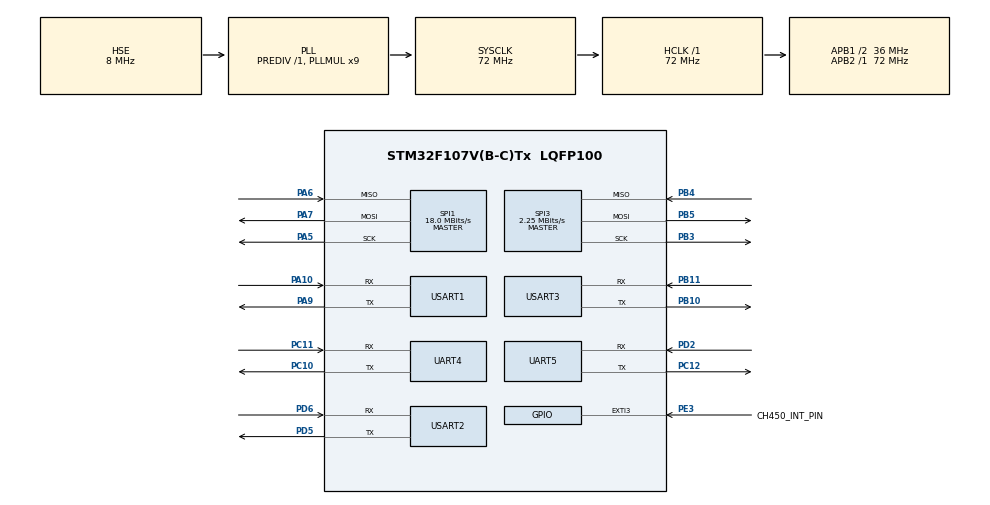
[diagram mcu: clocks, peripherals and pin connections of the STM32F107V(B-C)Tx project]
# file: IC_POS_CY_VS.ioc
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Dma.Request0=UART4_RX
Dma.Request1=USART1_RX
Dma.Request2=USART2_RX
Dma.Request3=USART3_RX
Dma.UART4_RX.0.Direction=DMA_PERIPH_TO_MEMORY
Dma.UART4_RX.0.Instance=DMA2_Channel3
Dma.UART4_RX.0.MemDataAlignment=DMA_MDATAALIGN_BYTE
Dma.UART4_RX.0.MemInc=DMA_MINC_ENABLE
Dma.UART4_RX.0.Mode=DMA_NORMAL
Dma.UART4_RX.0.PeriphDataAlignment=DMA_PDATAALIGN_BYTE
Dma.UART4_RX.0.PeriphInc=DMA_PINC_DISABLE
Dma.UART4_RX.0.Priority=DMA_PRIORITY_LOW
Dma.USART1_RX.1.Direction=DMA_PERIPH_TO_MEMORY
Dma.USART1_RX.1.Instance=DMA1_Channel5
Dma.USART1_RX.1.MemDataAlignment=DMA_MDATAALIGN_BYTE
Dma.USART1_RX.1.MemInc=DMA_MINC_ENABLE
Dma.USART1_RX.1.Mode=DMA_NORMAL
Dma.USART1_RX.1.PeriphDataAlignment=DMA_PDATAALIGN_BYTE
Dma.USART1_RX.1.PeriphInc=DMA_PINC_DISABLE
Dma.USART1_RX.1.Priority=DMA_PRIORITY_MEDIUM
Dma.USART2_RX.2.Direction=DMA_PERIPH_TO_MEMORY
Dma.USART2_RX.2.Instance=DMA1_Channel6
Dma.USART2_RX.2.MemDataAlignment=DMA_MDATAALIGN_BYTE
Dma.USART2_RX.2.MemInc=DMA_MINC_ENABLE
Dma.USART2_RX.2.Mode=DMA_NORMAL
Dma.USART2_RX.2.PeriphDataAlignment=DMA_PDATAALIGN_BYTE
Dma.USART2_RX.2.PeriphInc=DMA_PINC_DISABLE
Dma.USART2_RX.2.Priority=DMA_PRIORITY_MEDIUM
Dma.USART3_RX.3.Direction=DMA_PERIPH_TO_MEMORY
Dma.USART3_RX.3.Instance=DMA1_Channel3
Dma.USART3_RX.3.MemDataAlignment=DMA_MDATAALIGN_BYTE
Dma.USART3_RX.3.MemInc=DMA_MINC_ENABLE
Dma.USART3_RX.3.Mode=DMA_NORMAL
Dma.USART3_RX.3.PeriphDataAlignment=DMA_PDATAALIGN_BYTE
Dma.USART3_RX.3.PeriphInc=DMA_PINC_DISABLE
Dma.USART3_RX.3.Priority=DMA_PRIORITY_MEDIUM
Mcu.Family=STM32F1
Mcu.Name=STM32F107V(B-C)Tx
Mcu.Package=LQFP100
NVIC.DMA1_Channel3_IRQn=true\:0\:0\:false\:false\:true\:false
NVIC.DMA1_Channel5_IRQn=true\:0\:0\:false\:false\:true\:false
NVIC.DMA1_Channel6_IRQn=true\:0\:0\:false\:false\:true\:false
NVIC.DMA2_Channel3_IRQn=true\:0\:0\:false\:false\:true\:false
NVIC.PriorityGroup=NVIC_PRIORITYGROUP_4
NVIC.UART4_IRQn=true\:0\:0\:false\:false\:true\:true
NVIC.UART5_IRQn=true\:0\:0\:false\:false\:true\:true
NVIC.USART1_IRQn=true\:0\:0\:false\:false\:true\:true
NVIC.USART2_IRQn=true\:0\:0\:false\:false\:true\:true
NVIC.USART3_IRQn=true\:0\:0\:false\:false\:true\:true
OSC_IN.Mode=HSE-External-Oscillator
OSC_IN.Signal=RCC_OSC_IN
OSC_OUT.Mode=HSE-External-Oscillator
OSC_OUT.Signal=RCC_OSC_OUT
PA10.Mode=Asynchronous
PA10.Signal=USART1_RX
PA13.Mode=Serial_Wire
PA13.Signal=SYS_JTMS-SWDIO
PA14.Mode=Serial_Wire
PA14.Signal=SYS_JTCK-SWCLK
PA5.Mode=Full_Duplex_Master
PA5.Signal=SPI1_SCK
PA6.Mode=Full_Duplex_Master
PA6.Signal=SPI1_MISO
PA7.Mode=Full_Duplex_Master
PA7.Signal=SPI1_MOSI
PA9.Mode=Asynchronous
PA9.Signal=USART1_TX
PB10.Mode=Asynchronous
PB10.Signal=USART3_TX
PB11.Mode=Asynchronous
PB11.Signal=USART3_RX
PB3.Mode=Full_Duplex_Master
PB3.Signal=SPI3_SCK
PB4.Mode=Full_Duplex_Master
PB4.Signal=SPI3_MISO
PB5.Mode=Full_Duplex_Master
PB5.Signal=SPI3_MOSI
PC10.Mode=Asynchronous
PC10.Signal=UART4_TX
PC11.Mode=Asynchronous
PC11.Signal=UART4_RX
PC12.Mode=Asynchronous
PC12.Signal=UART5_TX
PD2.Mode=Asynchronous
PD2.Signal=UART5_RX
PD5.Mode=Asynchronous
PD5.Signal=USART2_TX
PD6.Mode=Asynchronous
PD6.Signal=USART2_RX
PE3.GPIO_Label=CH450_INT_PIN
PE3.GPIO_ModeDefaultEXTI=GPIO_MODE_IT_FALLING
PE3.GPIO_PuPd=GPIO_PULLUP
PE3.Signal=GPXTI3
ProjectManager.HeapSize=0x200
ProjectManager.StackSize=0x400
ProjectManager.TargetToolchain=Other Toolchains (GPDSC)
RCC.AHBFreq_Value=72000000
RCC.APB1CLKDivider=RCC_HCLK_DIV2
RCC.APB1Freq_Value=36000000
RCC.APB1TimFreq_Value=72000000
RCC.APB2Freq_Value=72000000
RCC.APB2TimFreq_Value=72000000
RCC.HCLKFreq_Value=72000000
RCC.PLLMUL=RCC_PLL_MUL9
RCC.PLLSourceVirtual=RCC_PLLSOURCE_HSE
RCC.SYSCLKFreq_VALUE=72000000
RCC.SYSCLKSource=RCC_SYSCLKSOURCE_PLLCLK
RCC.USBFreq_Value=48000000
SPI1.BaudRatePrescaler=SPI_BAUDRATEPRESCALER_4
SPI1.CalculateBaudRate=18.0 MBits/s
SPI1.Direction=SPI_DIRECTION_2LINES
SPI1.Mode=SPI_MODE_MASTER
SPI1.VirtualType=VM_MASTER
SPI3.BaudRatePrescaler=SPI_BAUDRATEPRESCALER_16
SPI3.CalculateBaudRate=2.25 MBits/s
SPI3.Direction=SPI_DIRECTION_2LINES
SPI3.Mode=SPI_MODE_MASTER
SPI3.VirtualType=VM_MASTER
UART4.VirtualMode=Asynchronous
UART5.VirtualMode=Asynchronous
USART1.VirtualMode=VM_ASYNC
USART2.VirtualMode=VM_ASYNC
USART3.VirtualMode=VM_ASYNC
board=IC_POS_CY_VS

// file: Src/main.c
/**
  ******************************************************************************
  * @file           : main.c
  * @brief          : Main program body
  ******************************************************************************
  ** This notice applies to any and all portions of this file
  * that are not between comment pairs USER CODE BEGIN and
  * USER CODE END. Other portions of this file, whether
  * inserted by the user or by software development tools
  * are owned by their respective copyright owners.
  *
  * COPYRIGHT(c) 2018 STMicroelectronics
  *
  * Redistribution and use in source and binary forms, with or without modification,
  * are permitted provided that the following conditions are met:
  *   1. Redistributions of source code must retain the above copyright notice,
  *      this list of conditions and the following disclaimer.
  *   2. Redistributions in binary form must reproduce the above copyright notice,
  *      this list of conditions and the following disclaimer in the documentation
  *      and/or other materials provided with the distribution.
  *   3. Neither the name of STMicroelectronics nor the names of its contributors
  *      may be used to endorse or promote products derived from this software
  *      without specific prior written permission.
  *
  * THIS SOFTWARE IS PROVIDED BY THE COPYRIGHT HOLDERS AND CONTRIBUTORS "AS IS"
  * AND ANY EXPRESS OR IMPLIED WARRANTIES, INCLUDING, BUT NOT LIMITED TO, THE
  * IMPLIED WARRANTIES OF MERCHANTABILITY AND FITNESS FOR A PARTICULAR PURPOSE ARE
  * DISCLAIMED. IN NO EVENT SHALL THE COPYRIGHT HOLDER OR CONTRIBUTORS BE LIABLE
  * FOR ANY DIRECT, INDIRECT, INCIDENTAL, SPECIAL, EXEMPLARY, OR CONSEQUENTIAL
  * DAMAGES (INCLUDING, BUT NOT LIMITED TO, PROCUREMENT OF SUBSTITUTE GOODS OR
  * SERVICES; LOSS OF USE, DATA, OR PROFITS; OR BUSINESS INTERRUPTION) HOWEVER
  * CAUSED AND ON ANY THEORY OF LIABILITY, WHETHER IN CONTRACT, STRICT LIABILITY,
  * OR TORT (INCLUDING NEGLIGENCE OR OTHERWISE) ARISING IN ANY WAY OUT OF THE USE
  * OF THIS SOFTWARE, EVEN IF ADVISED OF THE POSSIBILITY OF SUCH DAMAGE.
  *
  ******************************************************************************
  */
#include "main.h"
#include "stm32f1xx_hal.h"
#include "dma.h"
#include "spi.h"
#include "usart.h"
#include "gpio.h"

/* USER CODE BEGIN Includes */
#include "common.h"
#include "MFRC522.h"
#include "menu.h"
#include "LCD12864.h"
#include "ICCard.h"
#include "LocalComDataProcess.h"
/* USER CODE END Includes */

/* USER CODE BEGIN PV */
/* Private variables ---------------------------------------------------------*/
SysVarTypeDef SysVar;

Usart1BufTypeDef Usart1Buf;
Usart2BufTypeDef Usart2Buf;
Usart3BufTypeDef Usart3Buf;
Usart4BufTypeDef Usart4Buf;
Usart5BufTypeDef Usart5Buf;

Usart5BufTypeDef *LocalCom = &Usart5Buf;
UART_HandleTypeDef *LocalComHandle = &huart5;
/* USER CODE END PV */

void SystemClock_Config(void);

/* USER CODE BEGIN PFP */
/* Private function prototypes -----------------------------------------------*/
#ifdef __GNUC__
/* With GCC, small printf (option LD Linker->Libraries->Small printf
   set to 'Yes') calls __io_putchar() */
#define PUTCHAR_PROTOTYPE int __io_putchar(int ch)
#else
#define PUTCHAR_PROTOTYPE int fputc(int ch, FILE *f)
#endif /* __GNUC__ */
/* USER CODE END PFP */

int main(void)
{

  /* MCU Configuration----------------------------------------------------------*/

  /* Reset of all peripherals, Initializes the Flash interface and the Systick. */
  HAL_Init();

  /* Configure the system clock */
  SystemClock_Config();

  /* Initialize all configured peripherals */
  MX_GPIO_Init();
  MX_DMA_Init();
  MX_USART2_UART_Init();
  MX_USART1_UART_Init();
  MX_UART5_Init();
  MX_UART4_Init();
  MX_USART3_UART_Init();
  MX_SPI1_Init();
  MX_SPI3_Init();
  /* USER CODE BEGIN 2 */
	HAL_UART_Receive_IT(LocalComHandle, Usart5Buf.RxBuffer[Usart5Buf.RxDimension], USART5_BUF_LENGTH);
	LCD12864_Init();
	MFRC522_Init();

	SysVar.LocalTx.Flag = ENABLE;
	SysVar.LocalTx.Seconds.u16 = 5;
	SysVar.Card.Status = CARD_NO;
	SysVar.SM = SM_DISPALY_START_MENU;
  /* USER CODE END 2 */

  /* Infinite loop */
  while (1)
  {

  /* USER CODE BEGIN 3 */
	  switch (SysVar.SM)
	  {
	  case SM_DISPALY_START_MENU :
		  Menu_Start();
		  SysVar.SM = SM_PASS_WORD;
		  break;
	  case SM_FIND_CARD :
		  if (SysVar.Card.QueryCardMs >= 200)			/* 单位 Ms*/
		  {
			  IcCardProcess();
			  SysVar.SM = SM_DISPALY_BALANCE;
		  }
		  break;
	  case SM_DISPALY_BALANCE :
		  Menu_DisplayBalance();
		  SysVar.SM = SM_FIND_CARD;
		  break;
	  case SM_PASS_WORD :
		  if (SysVar.LocalTx.Flag == ENABLE && SysVar.LocalTx.Seconds.u16 >= 3000)
		  {
			  SysVar.LocalTx.Seconds.u16 = 0;
			  LocalReadUserIdAndPassWord();
		  }
		  break;
	  case SM_IDLE :

		  break;
	  default :
		  break;
	  }
	  /* 串口数据处理 */
	  LocalComDataProcess();
  }
  /* USER CODE END 3 */

}

void SystemClock_Config(void)
{

  RCC_OscInitTypeDef RCC_OscInitStruct;
  RCC_ClkInitTypeDef RCC_ClkInitStruct;

    /**Initializes the CPU, AHB and APB busses clocks
    */
  RCC_OscInitStruct.OscillatorType = RCC_OSCILLATORTYPE_HSE;
  RCC_OscInitStruct.HSEState = RCC_HSE_ON;
  RCC_OscInitStruct.HSEPredivValue = RCC_HSE_PREDIV_DIV1;
  RCC_OscInitStruct.HSIState = RCC_HSI_ON;
  RCC_OscInitStruct.Prediv1Source = RCC_PREDIV1_SOURCE_HSE;
  RCC_OscInitStruct.PLL.PLLState = RCC_PLL_ON;
  RCC_OscInitStruct.PLL.PLLSource = RCC_PLLSOURCE_HSE;
  RCC_OscInitStruct.PLL.PLLMUL = RCC_PLL_MUL9;
  RCC_OscInitStruct.PLL2.PLL2State = RCC_PLL_NONE;
  if (HAL_RCC_OscConfig(&RCC_OscInitStruct) != HAL_OK)
  {
    _Error_Handler(__FILE__, __LINE__);
  }

    /**Initializes the CPU, AHB and APB busses clocks
    */
  RCC_ClkInitStruct.ClockType = RCC_CLOCKTYPE_HCLK|RCC_CLOCKTYPE_SYSCLK
                              |RCC_CLOCKTYPE_PCLK1|RCC_CLOCKTYPE_PCLK2;
  RCC_ClkInitStruct.SYSCLKSource = RCC_SYSCLKSOURCE_PLLCLK;
  RCC_ClkInitStruct.AHBCLKDivider = RCC_SYSCLK_DIV1;
  RCC_ClkInitStruct.APB1CLKDivider = RCC_HCLK_DIV2;
  RCC_ClkInitStruct.APB2CLKDivider = RCC_HCLK_DIV1;

  if (HAL_RCC_ClockConfig(&RCC_ClkInitStruct, FLASH_LATENCY_2) != HAL_OK)
  {
    _Error_Handler(__FILE__, __LINE__);
  }

    /**Configure the Systick interrupt time
    */
  HAL_SYSTICK_Config(HAL_RCC_GetHCLKFreq()/1000);

    /**Configure the Systick
    */
  HAL_SYSTICK_CLKSourceConfig(SYSTICK_CLKSOURCE_HCLK);

    /**Configure the Systick interrupt time
    */
  __HAL_RCC_PLLI2S_ENABLE();

  /* SysTick_IRQn interrupt configuration */
  HAL_NVIC_SetPriority(SysTick_IRQn, 0, 0);
}

/* USER CODE BEGIN 4 */
/**
  * @brief  SYSTICK callback.
  * @retval None
  */
void HAL_SYSTICK_Callback(void)
{
	SysVar.Card.QueryCardMs++;
	if (SysVar.LocalTx.Flag == ENABLE)
		SysVar.LocalTx.Seconds.u16++;
}
/**
  * @brief  Retargets the C library printf function to the USART.
  * @param  None
  * @retval None
  */
PUTCHAR_PROTOTYPE
{
	/* Place your implementation of fputc here */
	/* e.g. write a character to the USART1 and Loop until the end of transmission */
	HAL_UART_Transmit(&huart5, (uint8_t *)&ch, 1, 0xFFFF);

	return ch;
}
/* USER CODE END 4 */

void _Error_Handler(char *file, int line)
{
  while(1)
  {
  }
}

/************************ (C) COPYRIGHT STMicroelectronics *****END OF FILE****/
